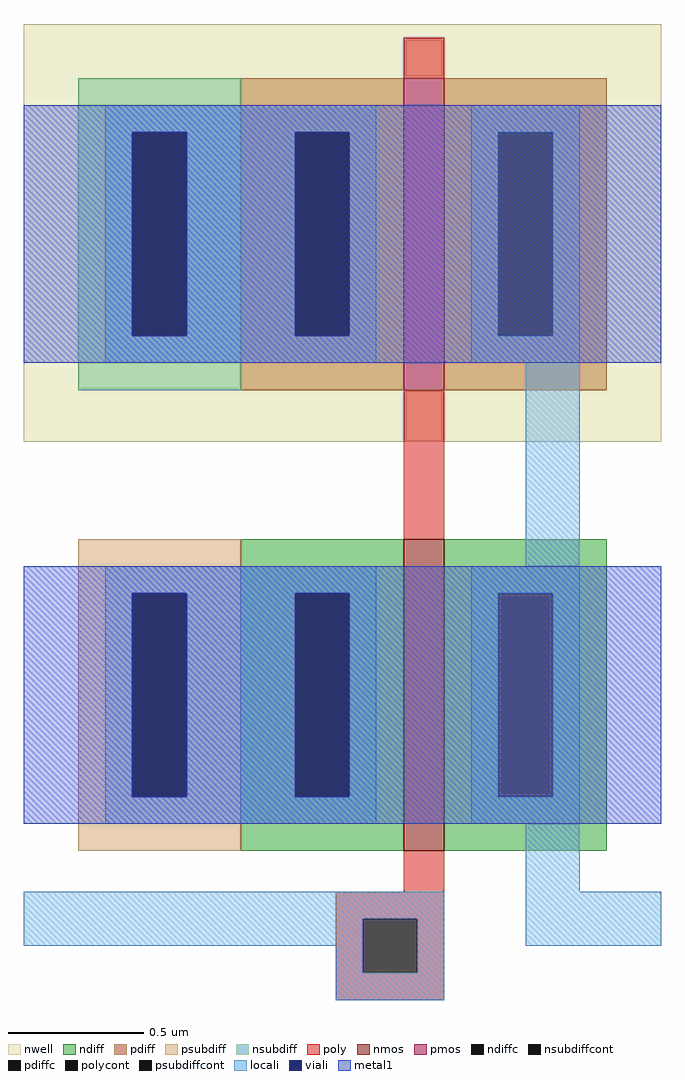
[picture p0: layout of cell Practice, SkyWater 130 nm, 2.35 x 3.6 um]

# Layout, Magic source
magic
tech sky130A
<< nwell >>
rect -140 151 95 305
<< nmos >>
rect 0 0 15 115
<< pmos >>
rect 0 170 15 285
<< ndiff >>
rect -60 95 0 115
rect -60 20 -40 95
rect -20 20 0 95
rect -60 0 0 20
rect 15 95 75 115
rect 15 20 35 95
rect 55 20 75 95
rect 15 0 75 20
<< pdiff >>
rect -60 265 0 285
rect -60 190 -40 265
rect -20 190 0 265
rect -60 170 0 190
rect 15 265 75 285
rect 15 190 35 265
rect 55 190 75 265
rect 15 170 75 190
<< ndiffc >>
rect -40 20 -20 95
rect 35 20 55 95
<< pdiffc >>
rect -40 190 -20 265
rect 35 190 55 265
<< psubdiff >>
rect -120 95 -60 115
rect -120 20 -100 95
rect -80 20 -60 95
rect -120 0 -60 20
<< nsubdiff >>
rect -120 265 -60 285
rect -120 190 -100 265
rect -80 190 -60 265
rect -120 170 -60 190
<< psubdiffcont >>
rect -100 20 -80 95
<< nsubdiffcont >>
rect -100 190 -80 265
<< poly >>
rect 0 285 15 300
rect 0 115 15 170
rect 0 -15 15 0
rect -25 -25 15 -15
rect -25 -45 -15 -25
rect 5 -45 15 -25
rect -25 -55 15 -45
<< polycont >>
rect -15 -45 5 -25
<< locali >>
rect -110 265 -10 275
rect -110 190 -100 265
rect -80 190 -40 265
rect -20 190 -10 265
rect -110 180 -10 190
rect 25 265 65 275
rect 25 190 35 265
rect 55 190 65 265
rect 25 180 65 190
rect 45 105 65 180
rect -110 95 -10 105
rect -110 20 -100 95
rect -80 20 -40 95
rect -20 20 -10 95
rect -110 10 -10 20
rect 25 95 65 105
rect 25 20 35 95
rect 55 20 65 95
rect 25 10 65 20
rect 45 -15 65 10
rect -140 -25 15 -15
rect -140 -35 -15 -25
rect -25 -45 -15 -35
rect 5 -45 15 -25
rect 45 -35 95 -15
rect -25 -55 15 -45
<< viali >>
rect -100 190 -80 265
rect -40 190 -20 265
rect -100 20 -80 95
rect -40 20 -20 95
<< metal1 >>
rect -140 265 95 275
rect -140 190 -100 265
rect -80 190 -40 265
rect -20 190 95 265
rect -140 180 95 190
rect -140 95 95 105
rect -140 20 -100 95
rect -80 20 -40 95
rect -20 20 95 95
rect -140 10 95 20
<< end >>
